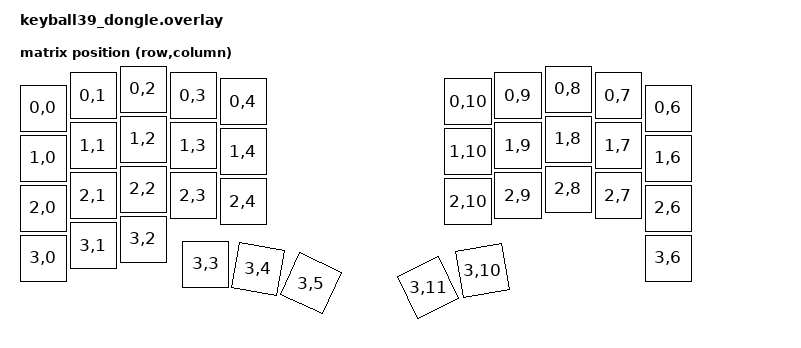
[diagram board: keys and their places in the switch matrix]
#include <dt-bindings/zmk/matrix_transform.h>
#include <physical_layouts.dtsi>
#include <input/processors.dtsi>

/ {
    chosen {
        zmk,kscan = &mock_kscan;
        zmk,physical-layout = &keyball_physical_layout;
    };

    mock_kscan: mock_kscan_0 {
        compatible = "zmk,kscan-mock";
        columns = <0>;
        rows = <0>;
        events = <0>;
    };

    nice_view_spi: dummy_spi {
    };

    pro_micro: dummy_pro_micro {
        gpio-controller;
        #gpio-cells = <2>;
    };

    default_transform: keymap_transform_0 {
        compatible = "zmk,matrix-transform";
        columns = <12>;
        rows = <4>;
        map = <
            RC(0,0) RC(0,1) RC(0,2) RC(0,3) RC(0,4)                  RC(0,10) RC(0,9) RC(0,8) RC(0,7) RC(0,6)
            RC(1,0) RC(1,1) RC(1,2) RC(1,3) RC(1,4)                  RC(1,10) RC(1,9) RC(1,8) RC(1,7) RC(1,6)
            RC(2,0) RC(2,1) RC(2,2) RC(2,3) RC(2,4)                  RC(2,10) RC(2,9) RC(2,8) RC(2,7) RC(2,6)
            RC(3,0) RC(3,1) RC(3,2) RC(3,3) RC(3,4) RC(3,5) RC(3,11) RC(3,10)                         RC(3,6)
        >;
    };

    keyball_physical_layout: keyball_physical_layout {
        compatible = "zmk,physical-layout";
        display-name = "Default";
        transform = <&default_transform>;
        kscan = <&mock_kscan>;

        keys
            = <&key_physical_attrs 100 100    0   38       0     0     0>
            , <&key_physical_attrs 100 100  100   13       0     0     0>
            , <&key_physical_attrs 100 100  200    0       0     0     0>
            , <&key_physical_attrs 100 100  300   13       0     0     0>
            , <&key_physical_attrs 100 100  400   25       0     0     0>
            , <&key_physical_attrs 100 100  850   25       0     0     0>
            , <&key_physical_attrs 100 100  950   13       0     0     0>
            , <&key_physical_attrs 100 100 1050    0       0     0     0>
            , <&key_physical_attrs 100 100 1150   13       0     0     0>
            , <&key_physical_attrs 100 100 1250   38       0     0     0>
            , <&key_physical_attrs 100 100    0  138       0     0     0>
            , <&key_physical_attrs 100 100  100  113       0     0     0>
            , <&key_physical_attrs 100 100  200  100       0     0     0>
            , <&key_physical_attrs 100 100  300  113       0     0     0>
            , <&key_physical_attrs 100 100  400  125       0     0     0>
            , <&key_physical_attrs 100 100  850  125       0     0     0>
            , <&key_physical_attrs 100 100  950  113       0     0     0>
            , <&key_physical_attrs 100 100 1050  100       0     0     0>
            , <&key_physical_attrs 100 100 1150  113       0     0     0>
            , <&key_physical_attrs 100 100 1250  138       0     0     0>
            , <&key_physical_attrs 100 100    0  238       0     0     0>
            , <&key_physical_attrs 100 100  100  213       0     0     0>
            , <&key_physical_attrs 100 100  200  200       0     0     0>
            , <&key_physical_attrs 100 100  300  213       0     0     0>
            , <&key_physical_attrs 100 100  400  225       0     0     0>
            , <&key_physical_attrs 100 100  850  225       0     0     0>
            , <&key_physical_attrs 100 100  950  213       0     0     0>
            , <&key_physical_attrs 100 100 1050  200       0     0     0>
            , <&key_physical_attrs 100 100 1150  213       0     0     0>
            , <&key_physical_attrs 100 100 1250  238       0     0     0>
            , <&key_physical_attrs 100 100    0  338       0     0     0>
            , <&key_physical_attrs 100 100  100  313       0     0     0>
            , <&key_physical_attrs 100 100  200  300       0     0     0>
            , <&key_physical_attrs 100 100  325  350       0     0     0>
            , <&key_physical_attrs 100 100  510  260    1000 (-50) (-100)>
            , <&key_physical_attrs 100 100   70  210    2500 (-50)  1400>
            , <&key_physical_attrs 100 100 1100  875 (-2600) (-50)  1400>
            , <&key_physical_attrs 100 100  775  525 (-1000) (-50) (-100)>
            , <&key_physical_attrs 100 100 1250  338       0     0     0>
            ;
    };

    split_inputs {
        #address-cells = <1>;
        #size-cells = <0>;

        trackball_split: trackball@0 {
            compatible = "zmk,input-split";
            reg = <0>;
        };
    };

    trackball_listener {
        compatible = "zmk,input-listener";
        device = <&trackball_split>;
        input-processors = <&zip_temp_layer 4 700>;

        scroll {
            layers = <5>;
            input-processors = <&zip_xy_to_scroll_mapper>;
        };

        snipe {
            layers = <6>;
            input-processors = <&zip_xy_scaler 1 3>;
        };
    };
};
